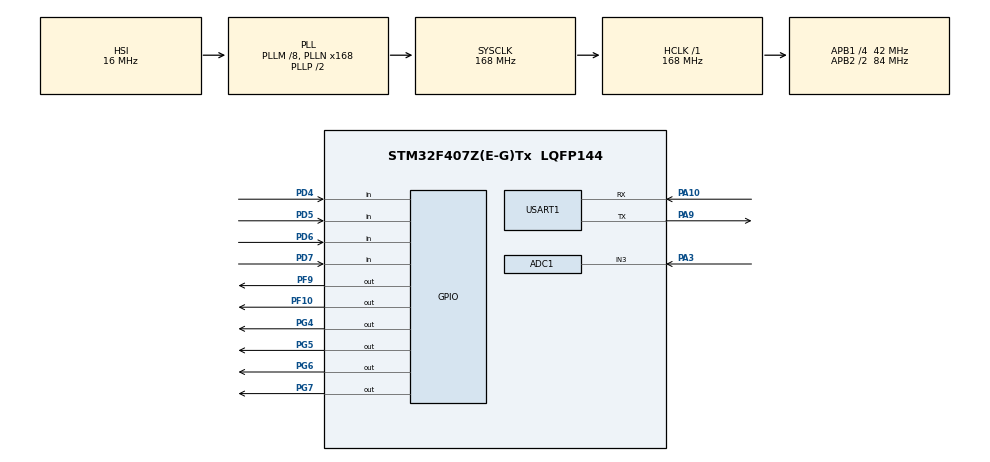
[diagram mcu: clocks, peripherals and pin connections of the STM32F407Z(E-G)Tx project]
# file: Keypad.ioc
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ADC1.Channel-0\#ChannelRegularConversion=ADC_CHANNEL_3
ADC1.NbrOfConversionFlag=1
ADC1.Rank-0\#ChannelRegularConversion=1
ADC1.SamplingTime-0\#ChannelRegularConversion=ADC_SAMPLETIME_3CYCLES
ADC1.master=1
Mcu.Family=STM32F4
Mcu.Name=STM32F407Z(E-G)Tx
Mcu.Package=LQFP144
NVIC.ADC_IRQn=true\:0\:0\:false\:false\:true\:true\:true
NVIC.PriorityGroup=NVIC_PRIORITYGROUP_4
NVIC.USART1_IRQn=true\:1\:0\:true\:false\:true\:true\:true
PA10.Mode=Asynchronous
PA10.Signal=USART1_RX
PA13.Mode=Serial_Wire
PA13.Signal=SYS_JTMS-SWDIO
PA14.Mode=Serial_Wire
PA14.Signal=SYS_JTCK-SWCLK
PA3.Signal=ADCx_IN3
PA9.Mode=Asynchronous
PA9.Signal=USART1_TX
PC14-OSC32_IN.Mode=LSE-External-Oscillator
PC14-OSC32_IN.Signal=RCC_OSC32_IN
PC15-OSC32_OUT.Mode=LSE-External-Oscillator
PC15-OSC32_OUT.Signal=RCC_OSC32_OUT
PD4.GPIO_PuPd=GPIO_PULLDOWN
PD4.Signal=GPIO_Input
PD5.GPIO_PuPd=GPIO_PULLDOWN
PD5.Signal=GPIO_Input
PD6.GPIO_PuPd=GPIO_PULLDOWN
PD6.Signal=GPIO_Input
PD7.GPIO_PuPd=GPIO_PULLDOWN
PD7.Signal=GPIO_Input
PF10.GPIO_ModeDefaultOutputPP=GPIO_MODE_OUTPUT_PP
PF10.PinState=GPIO_PIN_SET
PF10.Signal=GPIO_Output
PF9.GPIO_ModeDefaultOutputPP=GPIO_MODE_OUTPUT_PP
PF9.PinState=GPIO_PIN_SET
PF9.Signal=GPIO_Output
PG4.Signal=GPIO_Output
PG5.Signal=GPIO_Output
PG6.Signal=GPIO_Output
PG7.Signal=GPIO_Output
PH0-OSC_IN.Mode=HSE-External-Oscillator
PH0-OSC_IN.Signal=RCC_OSC_IN
PH1-OSC_OUT.Mode=HSE-External-Oscillator
PH1-OSC_OUT.Signal=RCC_OSC_OUT
ProjectManager.HeapSize=0x200
ProjectManager.StackSize=0x400
ProjectManager.TargetToolchain=MDK-ARM V5
RCC.48MHZClocksFreq_Value=84000000
RCC.AHBFreq_Value=168000000
RCC.APB1CLKDivider=RCC_HCLK_DIV4
RCC.APB1Freq_Value=42000000
RCC.APB1TimFreq_Value=84000000
RCC.APB2CLKDivider=RCC_HCLK_DIV2
RCC.APB2Freq_Value=84000000
RCC.APB2TimFreq_Value=168000000
RCC.CortexFreq_Value=168000000
RCC.HCLKFreq_Value=168000000
RCC.HSE_VALUE=25000000
RCC.HSI_VALUE=16000000
RCC.PLLM=8
RCC.PLLN=168
RCC.SYSCLKFreq_VALUE=168000000
RCC.SYSCLKSource=RCC_SYSCLKSOURCE_PLLCLK
RCC.VCOOutputFreq_Value=336000000
SH.ADCx_IN3.0=ADC1_IN3,IN3
USART1.VirtualMode=VM_ASYNC
board=custom

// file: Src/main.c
/* USER CODE BEGIN Header */
/**
  ******************************************************************************
  * @file           : main.c
  * @brief          : Main program body
  ******************************************************************************
  * @attention
  *
  * <h2><center>&copy; Copyright (c) 2021 STMicroelectronics.
  * All rights reserved.</center></h2>
  *
  * This software component is licensed by ST under BSD 3-Clause license,
  * the "License"; You may not use this file except in compliance with the
  * License. You may obtain a copy of the License at:
  *                        opensource.org/licenses/BSD-3-Clause
  *
  ******************************************************************************
  */
/* USER CODE END Header */

#include "main.h"
#include "adc.h"
#include "usart.h"
#include "gpio.h"

/* USER CODE BEGIN Includes */
#include "keypad.h"
#include "stdio.h"
#include "lcd.h"
#include "lcd_init.h"
#include "spi.h"
#include "adc.h"
#include "pic.h"

/* USER CODE END Includes */

/* USER CODE BEGIN PTD */

#ifdef __GNUC__
  #define PUTCHAR_PROTOTYPE int __io_putchar(int ch)
#else
  #define PUTCHAR_PROTOTYPE int fputc(int ch, FILE *f)
#endif

int fputc(int ch,FILE *f)
{
	HAL_UART_Transmit(&huart1,(uint8_t *)&ch,1,0xFFFF);

	return ch;

}

int fgetc(FILE *f)

{
    uint8_t  ch;
    HAL_UART_Receive(&huart1,(uint8_t *)&ch, 1, 0xFFFF);
    return  ch;
}
/* USER CODE END PTD */

/* USER CODE BEGIN PD */
uint16_t datatemp[6]={1,1,5,4,4,1};
int iflag=0;
uint16_t  ADC1_Value;
uint16_t  ADC1_Volt;
float     ADC1_Volt1;

void HAL_ADC_ConvCpltCallback(ADC_HandleTypeDef* hadc)
{
    if(hadc->Instance == ADC1)
    {

			float percent_1;
			int   percent_2;

			ADC1_Value = HAL_ADC_GetValue(&hadc1);    //读取ADC转换结果
			ADC1_Volt = ADC1_Value * 330/ 4096;      //将采样值换算成电压值
			ADC1_Volt1= (ADC1_Volt/100) + (0.1*((ADC1_Volt%100)/10)) + (0.01*(ADC1_Volt%10));

			 percent_1=ADC1_Volt1/3.3;
			 percent_2=percent_1*100;

			 LCD_ShowIntNum(80,90,percent_2,3,BLACK,YELLOW,16);
			 LCD_ShowChar(110,90,'%',BLACK,YELLOW,16,0);

			if(75<percent_2&&percent_2<=100)
			{
				LCD_ShowPicture(50,90,16,8,power1);
			}else if(50<percent_2&&percent_2<=75)
			{
				LCD_ShowPicture(50,90,16,8,power2);
			}else if (25<percent_2&&percent_2<=50)
			{
				LCD_ShowPicture(50,90,16,8,power3);
			}else if (0<percent_2&&percent_2<=25)
			{
				LCD_ShowPicture(50,90,16,8,power4);
			}

    }
}

/* USER CODE END PD */

void SystemClock_Config(void);

int main(void)
{
  /* USER CODE BEGIN 1 */
  int Key=0;
//  uint8_t buffer[10];

  /* USER CODE END 1 */

  /* MCU Configuration--------------------------------------------------------*/

  /* Reset of all peripherals, Initializes the Flash interface and the Systick. */
  HAL_Init();

  /* Configure the system clock */
  SystemClock_Config();

  /* Initialize all configured peripherals */
  MX_GPIO_Init();
  SOFT_SPI_Init();
  MX_USART1_UART_Init();
  MX_ADC1_Init();
  LCD_Init();
  /* USER CODE BEGIN 2 */
  USART_RX_STA1=0;
  HAL_UART_Receive_IT(&huart1, (uint8_t *)aRxBuffer1, RXBUFFERSIZE1);

  printf("/********************************\r\n");
  printf("电子系统设计与分析\r\n");
  printf("实验四：通信接口应用设计\r\n");
  printf("班级：信息工程1901\r\n");
  printf("作者：刘尚宇1941900120\r\n");
  printf("日期：2021年6月9日\r\n");
  printf("/********************************\r\n");

  LCD_Fill(0,0,128,160,YELLOW);

  LCD_ShowChinese(25,30,"信息工程",BLACK,YELLOW,16,0);
  LCD_ShowString(90,30,"1901",BLACK,YELLOW,16,0);

  LCD_ShowChinese(25,50,"信息工程",BLACK,YELLOW,16,0);
  LCD_ShowString(90,50,"1902",BLACK,YELLOW,16,0);

  LCD_ShowChinese(25,70,"信息工程",BLACK,YELLOW,16,0);
  LCD_ShowString(90,70,"1903",BLACK,YELLOW,16,0);

  /* USER CODE END 2 */

  /* Infinite loop */
  /* USER CODE BEGIN WHILE */
  while (1)
  {
	Key=Scan44Key();
	KeyHandle(Key);
//    HAL_ADC_Start_IT(&hadc1);

	 if(USART_RX_STA1&0x8000)
	 {
         int m;
		 datatemp[0]= USART_RX_BUF1[0]-0x30;
		 datatemp[1]= USART_RX_BUF1[1]-0x30;
		 datatemp[2]= USART_RX_BUF1[2]-0x30;
		 datatemp[3]= USART_RX_BUF1[3]-0x30;
		 datatemp[4]= USART_RX_BUF1[4]-0x30;
		 datatemp[5]= USART_RX_BUF1[5]-0x30;

		 printf("密码已成功修改为：\r\n");

		 for(m=0;m<6;m++)
		 {
			  printf("%d",datatemp[m]);
		 }
		 USART_RX_STA1=0;
	 }

    /* USER CODE END WHILE */

}
}

void SystemClock_Config(void)
{
  RCC_OscInitTypeDef RCC_OscInitStruct = {0};
  RCC_ClkInitTypeDef RCC_ClkInitStruct = {0};

  /** Configure the main internal regulator output voltage
  */
  __HAL_RCC_PWR_CLK_ENABLE();
  __HAL_PWR_VOLTAGESCALING_CONFIG(PWR_REGULATOR_VOLTAGE_SCALE1);
  /** Initializes the CPU, AHB and APB busses clocks
  */
  RCC_OscInitStruct.OscillatorType = RCC_OSCILLATORTYPE_HSI;
  RCC_OscInitStruct.HSIState = RCC_HSI_ON;
  RCC_OscInitStruct.HSICalibrationValue = RCC_HSICALIBRATION_DEFAULT;
  RCC_OscInitStruct.PLL.PLLState = RCC_PLL_ON;
  RCC_OscInitStruct.PLL.PLLSource = RCC_PLLSOURCE_HSI;
  RCC_OscInitStruct.PLL.PLLM = 8;
  RCC_OscInitStruct.PLL.PLLN = 168;
  RCC_OscInitStruct.PLL.PLLP = RCC_PLLP_DIV2;
  RCC_OscInitStruct.PLL.PLLQ = 4;
  if (HAL_RCC_OscConfig(&RCC_OscInitStruct) != HAL_OK)
  {
    Error_Handler();
  }
  /** Initializes the CPU, AHB and APB busses clocks
  */
  RCC_ClkInitStruct.ClockType = RCC_CLOCKTYPE_HCLK|RCC_CLOCKTYPE_SYSCLK
                              |RCC_CLOCKTYPE_PCLK1|RCC_CLOCKTYPE_PCLK2;
  RCC_ClkInitStruct.SYSCLKSource = RCC_SYSCLKSOURCE_PLLCLK;
  RCC_ClkInitStruct.AHBCLKDivider = RCC_SYSCLK_DIV1;
  RCC_ClkInitStruct.APB1CLKDivider = RCC_HCLK_DIV4;
  RCC_ClkInitStruct.APB2CLKDivider = RCC_HCLK_DIV2;

  if (HAL_RCC_ClockConfig(&RCC_ClkInitStruct, FLASH_LATENCY_5) != HAL_OK)
  {
    Error_Handler();
  }
}

void Error_Handler(void)
{
}

/************************ (C) COPYRIGHT STMicroelectronics *****END OF FILE****/
